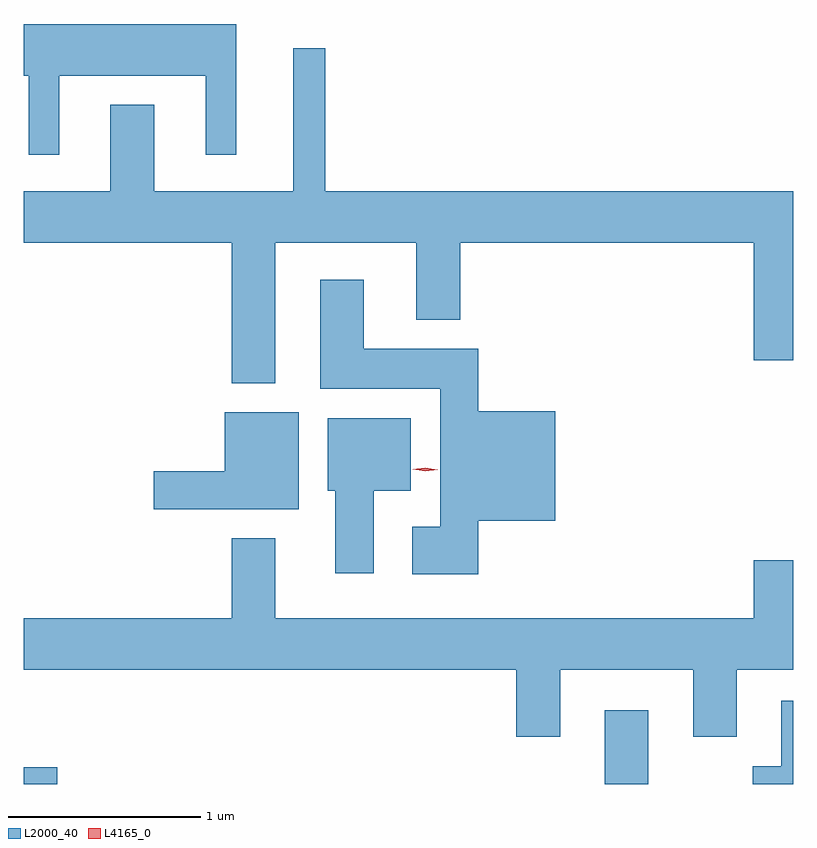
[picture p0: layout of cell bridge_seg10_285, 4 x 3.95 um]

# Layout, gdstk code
import gdstk
lib = gdstk.Library(unit=1e-6, precision=1e-09)
def R(c, l, rs):  # rectangles x0, y0, x1, y1
    for r in rs: c.add(gdstk.rectangle(r[:2], r[2:], *l))
def P(c, l, *ps):  # polygons
    for p in ps: c.add(gdstk.Polygon(p, *l))
L2000_40 = (2000, 40)
L4165_0 = (4165, 0)

bridge_seg10_285 = lib.new_cell('bridge_seg10_285')
R(bridge_seg10_285, L2000_40, [(1450.041,2164.381,1450.214,2164.469), (1453.061,2164.381,1453.289,2164.764)])
P(bridge_seg10_285, L2000_40, [(1450.224,2168.066),(1450.986,2168.066),(1450.986,2167.653),(1451.144,2167.653),(1451.144,2168.334),(1450.041,2168.334),(1450.041,2168.066),(1450.066,2168.066),(1450.066,2167.653),(1450.224,2167.653)],
  [(1451.349,2167.196),(1452.081,2167.196),(1452.081,2166.796),(1452.309,2166.796),(1452.309,2167.196),(1453.836,2167.196),(1453.836,2166.586),(1454.041,2166.586),(1454.041,2167.464),(1451.609,2167.464),(1451.609,2168.208),(1451.441,2168.208),(1451.441,2167.464),(1450.719,2167.464),(1450.719,2167.914),(1450.491,2167.914),(1450.491,2167.464),(1450.041,2167.464),(1450.041,2167.196),(1451.121,2167.196),(1451.121,2166.466),(1451.349,2166.466)],
  [(1452.404,2165.751),(1452.804,2165.751),(1452.804,2166.319),(1452.404,2166.319),(1452.404,2166.644),(1451.809,2166.644),(1451.809,2167.004),(1451.581,2167.004),(1451.581,2166.436),(1452.206,2166.436),(1452.206,2165.719),(1452.061,2165.719),(1452.061,2165.471),(1452.404,2165.471)],
  [(1451.469,2166.314),(1451.086,2166.314),(1451.086,2166.009),(1450.716,2166.009),(1450.716,2165.811),(1451.469,2165.811)],
  [(1451.859,2165.906),(1452.054,2165.906),(1452.054,2166.284),(1451.621,2166.284),(1451.621,2165.906),(1451.661,2165.906),(1451.661,2165.476),(1451.859,2165.476)],
  [(1452.829,2164.976),(1453.521,2164.976),(1453.521,2164.626),(1453.749,2164.626),(1453.749,2164.976),(1454.041,2164.976),(1454.041,2165.544),(1453.836,2165.544),(1453.836,2165.244),(1451.349,2165.244),(1451.349,2165.659),(1451.121,2165.659),(1451.121,2165.244),(1450.041,2165.244),(1450.041,2164.976),(1452.601,2164.976),(1452.601,2164.626),(1452.829,2164.626)],
  [(1454.041,2164.814),(1453.981,2164.814),(1453.981,2164.474),(1453.831,2164.474),(1453.831,2164.381),(1454.041,2164.381)])
P(bridge_seg10_285, L4165_0, [(1452.127,2166.007),(1452.062,2166.018),(1452.061,2166.018),(1452.062,2166.019),(1452.128,2166.027),(1452.193,2166.016),(1452.194,2166.016),(1452.193,2166.015)])

lib.write_gds('bridge_seg10_285.gds')
